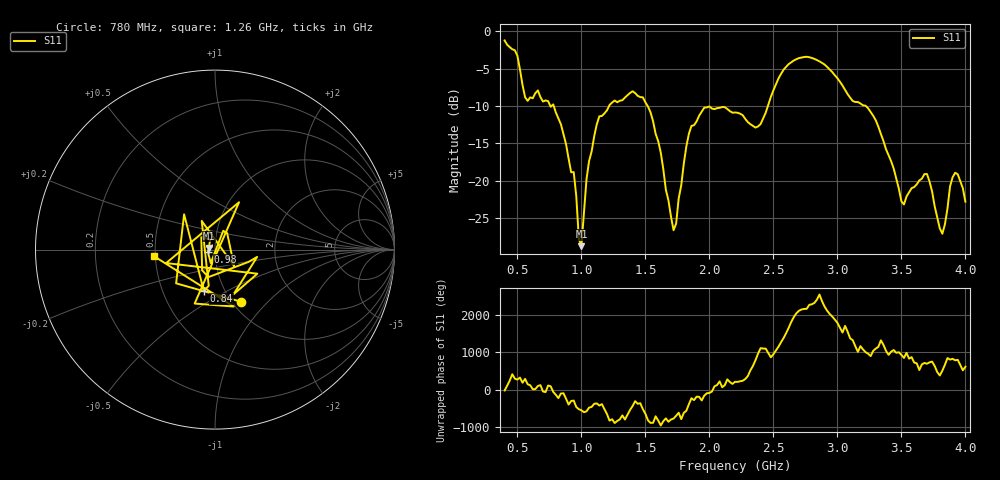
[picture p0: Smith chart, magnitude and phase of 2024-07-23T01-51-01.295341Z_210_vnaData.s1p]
!Created with skrf (http://scikit-rf.org).
# Hz S RI R 50.0
!freq ReS11 ImS11
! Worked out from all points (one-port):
!   181 points, 400 MHz to 4 GHz, reference 50 ohm
!   lowest |S11| = -28.7 dB at 1 GHz (marker M1), VSWR 1.08, Z = 46.6 + j0.9 ohm
!   |S11| at or under -10 dB: 784.1 MHz to 1.216 GHz (432 MHz wide, 43.2 % of centre); 1.518 GHz to 2.457 GHz (939.4 MHz wide, 47.3 % of centre); 3.223 GHz to end of sweep (the widest 3 of 4)
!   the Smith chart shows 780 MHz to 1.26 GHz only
!   S11 on the Smith chart (normalised r, x): 780 MHz: 1.10, -0.71; 840 MHz: 0.80, -0.39; 980 MHz: 0.92, -0.02; 1.26 GHz: 0.49, -0.04
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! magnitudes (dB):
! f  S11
! 400 MHz  -1.2
! 580 MHz  -9.3
! 780 MHz  -9.8
! 840 MHz  -12.4
! 860 MHz  -13.8
! 940 MHz  -18.8
! 980 MHz  -27.7
! 1 GHz  -28.7
! 1.04 GHz  -19.7
! 1.12 GHz  -12.5
! 1.26 GHz  -9.3
! 1.3 GHz  -9.3
! 1.48 GHz  -8.8
! 1.6 GHz  -14.7
! 1.72 GHz  -26.6
! 1.76 GHz  -22.3
! 1.86 GHz  -12.6
! 2.2 GHz  -10.9
! 2.38 GHz  -12.7
! 2.66 GHz  -3.9
! 3.1 GHz  -8.9
! 3.3 GHz  -11.9
! 3.5 GHz  -22.7
! 3.56 GHz  -21.5
! 3.7 GHz  -19.1
! 3.82 GHz  -27.0
! 3.92 GHz  -18.9
! 4 GHz  -22.8
